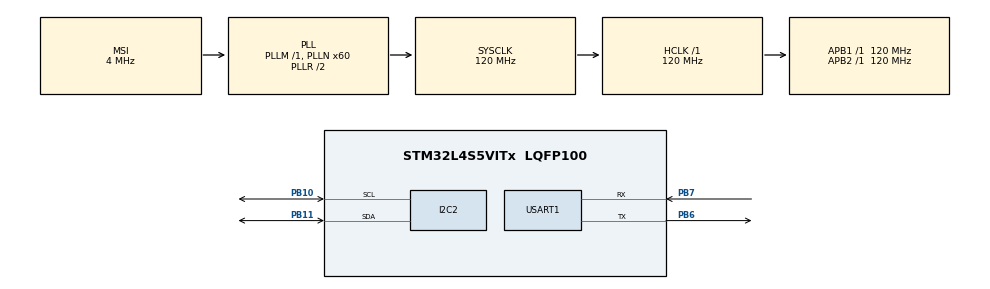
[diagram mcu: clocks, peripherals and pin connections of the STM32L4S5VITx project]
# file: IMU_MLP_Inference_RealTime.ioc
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I2C2.Timing=0x30A175AB
Mcu.Family=STM32L4
Mcu.Name=STM32L4S5VITx
Mcu.Package=LQFP100
NVIC.PriorityGroup=NVIC_PRIORITYGROUP_4
PB10.Mode=I2C
PB10.Signal=I2C2_SCL
PB11.Mode=I2C
PB11.Signal=I2C2_SDA
PB6.Mode=Asynchronous
PB6.Signal=USART1_TX
PB7.Mode=Asynchronous
PB7.Signal=USART1_RX
ProjectManager.HeapSize=0x200
ProjectManager.StackSize=0x400
ProjectManager.TargetToolchain=STM32CubeIDE
RCC.ADCFreq_Value=48000000
RCC.AHBFreq_Value=120000000
RCC.APB1Freq_Value=120000000
RCC.APB1TimFreq_Value=120000000
RCC.APB2Freq_Value=120000000
RCC.APB2TimFreq_Value=120000000
RCC.CortexFreq_Value=120000000
RCC.HCLKFreq_Value=120000000
RCC.HSE_VALUE=8000000
RCC.HSI48_VALUE=48000000
RCC.HSI_VALUE=16000000
RCC.MSI_VALUE=4000000
RCC.PLLN=60
RCC.PLLSAI1N=24
RCC.SYSCLKFreq_VALUE=120000000
RCC.SYSCLKSource=RCC_SYSCLKSOURCE_PLLCLK
RCC.USBFreq_Value=48000000
RCC.VCOOutputFreq_Value=240000000
STMicroelectronics.X-CUBE-AI.10.2.0.ActivationBufferSizeList=2196
STMicroelectronics.X-CUBE-AI.10.2.0.ActivationBuffers=pool0
STMicroelectronics.X-CUBE-AI.10.2.0.ActivationNames=pool0
STMicroelectronics.X-CUBE-AI.10.2.0.ActivationSizes=AI_NETWORK_DATA_ACTIVATION_1_SIZE
STMicroelectronics.X-CUBE-AI.10.2.0.HeapSize=0x800
STMicroelectronics.X-CUBE-AI.10.2.0.InternalRamActivationBufferMaxSize=AI_NETWORK_DATA_ACTIVATIONS_SIZE
STMicroelectronics.X-CUBE-AI.10.2.0.LatestDirectoryUsed-71befba472b4ac1e8df70e5b0937361406bf6e057392766b3646ccae2551211b=D\:\\FDP\\TinyML\\Working_Directory\\TinyML_Workshop\\ONNX
STMicroelectronics.X-CUBE-AI.10.2.0.MaximumNumberOfInputLayer=1
STMicroelectronics.X-CUBE-AI.10.2.0.MaximumNumberOfOutputLayer=1
STMicroelectronics.X-CUBE-AI.10.2.0.MaximumSizeOfInputLayer=1
STMicroelectronics.X-CUBE-AI.10.2.0.MaximumSizeOfOutputLayer=1
STMicroelectronics.X-CUBE-AI.10.2.0.ModelActualCompression-71befba472b4ac1e8df70e5b0937361406bf6e057392766b3646ccae2551211b=0.0
STMicroelectronics.X-CUBE-AI.10.2.0.ModelCompression-71befba472b4ac1e8df70e5b0937361406bf6e057392766b3646ccae2551211b=None
STMicroelectronics.X-CUBE-AI.10.2.0.ModelFlashOccupation-71befba472b4ac1e8df70e5b0937361406bf6e057392766b3646ccae2551211b=19528
STMicroelectronics.X-CUBE-AI.10.2.0.ModelHashList=71befba472b4ac1e8df70e5b0937361406bf6e057392766b3646ccae2551211b
STMicroelectronics.X-CUBE-AI.10.2.0.ModelKind-71befba472b4ac1e8df70e5b0937361406bf6e057392766b3646ccae2551211b=ONNX
STMicroelectronics.X-CUBE-AI.10.2.0.ModelMacc-71befba472b4ac1e8df70e5b0937361406bf6e057392766b3646ccae2551211b=2789
STMicroelectronics.X-CUBE-AI.10.2.0.ModelName-71befba472b4ac1e8df70e5b0937361406bf6e057392766b3646ccae2551211b=network
STMicroelectronics.X-CUBE-AI.10.2.0.ModelNameList=network
STMicroelectronics.X-CUBE-AI.10.2.0.ModelRamOccupation-71befba472b4ac1e8df70e5b0937361406bf6e057392766b3646ccae2551211b=2196
STMicroelectronics.X-CUBE-AI.10.2.0.ModelStructureFile-71befba472b4ac1e8df70e5b0937361406bf6e057392766b3646ccae2551211b=D\:\\FDP\\TinyML\\Working_Directory\\TinyML_Workshop\\ONNX\\mlp_model.onnx
STMicroelectronics.X-CUBE-AI.10.2.0.ModelType-71befba472b4ac1e8df70e5b0937361406bf6e057392766b3646ccae2551211b=STM32Cube.AI MCU runtime
STMicroelectronics.X-CUBE-AI.10.2.0.ReadyForCodeGeneration=true
STMicroelectronics.X-CUBE-AI.10.2.0.StackSize=0x800
STMicroelectronics.X-CUBE-AI.10.2.0.WorkingBufferStartAddrList=0xFFFFFFFF
STMicroelectronics.X-CUBE-AI.10.2.0.XAaCUBEAaAICcArtificialOoIntelligenceJjCore=true
STMicroelectronics.X-CUBE-AI.10.2.0.copyWeightToRam=false
STMicroelectronics.X-CUBE-AI.10.2.0.customLayerConfigEnabled=false
STMicroelectronics.X-CUBE-AI.10.2.0.noOnnxIoTranspose=false
STMicroelectronics.X-CUBE-AI.10.2.0.useInputAllocation=true
STMicroelectronics.X-CUBE-AI.10.2.0.useOutputAllocation=true
USART1.VirtualMode-Asynchronous=VM_ASYNC
VP_STMicroelectronics.X-CUBE-AI_VS_ArtificialOoIntelligenceJjXAaCUBEAaAI_10.2.0.Mode=ArtificialOoIntelligenceJjXAaCUBEAaAI
board=B-L4S5I-IOT01A

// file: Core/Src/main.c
/* USER CODE BEGIN Header */
/**
  ******************************************************************************
  * @file           : main.c
  * @brief          : Main program body
  ******************************************************************************
  * @attention
  *
  * Copyright (c) 2026 STMicroelectronics.
  * All rights reserved.
  *
  * This software is licensed under terms that can be found in the LICENSE file
  * in the root directory of this software component.
  * If no LICENSE file comes with this software, it is provided AS-IS.
  *
  ******************************************************************************
  */
/* USER CODE END Header */
#include "main.h"

/* USER CODE BEGIN Includes */
#include "stdio.h"
#include "string.h"
#include "network.h"
#include "network_data.h"
#include "network_data_params.h"
#include "imu.h"
/* USER CODE END Includes */

I2C_HandleTypeDef hi2c2;

UART_HandleTypeDef huart1;

/* USER CODE BEGIN PV */
ai_handle network = AI_HANDLE_NULL;

AI_ALIGNED(4)
static ai_u8 activations_buffer[AI_NETWORK_DATA_ACTIVATIONS_SIZE];

static ai_buffer *ai_input;
static ai_buffer *ai_output;

/* Input Features */
float input_data[6];

const float feature_min[6] =
{
    -1.999f,
    -1.999f,
    -1.997f,
    -286.685f,
    -286.685f,
    -286.685f
};

const float feature_max[6] =
{
     1.998f,
     1.997f,
     1.999f,
     286.685f,
     286.685f,
     286.685f
};

/* Predicted Label */
int32_t predicted_label;

/* Network Output Scores */
float output_scores[5];

/* USER CODE END PV */

void SystemClock_Config(void);
static void MX_GPIO_Init(void);
static void MX_I2C2_Init(void);
static void MX_USART1_UART_Init(void);
/* USER CODE BEGIN PFP */
void Normalize_Features(void);
void AI_Run(void);
/* USER CODE END PFP */

/* USER CODE BEGIN 0 */
void MX_X_CUBE_AI_Init(void)
{
    ai_error err;

    /* Activation memory */
    const ai_handle activations[] =
    {
    		activations_buffer
    };

    /* Use embedded weights generated by X-CUBE-AI */
    err = ai_network_create_and_init(
            &network,
            activations,
            NULL);

    if (err.type != AI_ERROR_NONE)
    {
        printf("AI Init Failed\r\n");
        printf("Type = %d\r\n", err.type);
        printf("Code = %d\r\n", err.code);
        Error_Handler();
    }

    ai_input  = ai_network_inputs_get(network, NULL);
    ai_output = ai_network_outputs_get(network, NULL);

    printf("AI Initialized Successfully\r\n");
}

/* USER CODE END 0 */

int main(void)
{

  /* MCU Configuration--------------------------------------------------------*/

  /* Reset of all peripherals, Initializes the Flash interface and the Systick. */
  HAL_Init();

  /* Configure the system clock */
  SystemClock_Config();

  /* Initialize all configured peripherals */
  MX_GPIO_Init();
  MX_I2C2_Init();
  MX_USART1_UART_Init();
  /* USER CODE BEGIN 2 */
  IMU_Init();
  float ax, ay, az;
  float gx, gy, gz;
  printf("\r\n");
  printf("Random Forest STM32 Demo\r\n");

  MX_X_CUBE_AI_Init();

  /* USER CODE END 2 */

  /* Infinite loop */
  while (1)
  {

    /* USER CODE BEGIN 3 */
	  IMU_Read_Accel(&ax, &ay, &az);
	  IMU_Read_Gyro(&gx, &gy, &gz);

	  /* Build feature vector */
	  input_data[0] = ax;
	  input_data[1] = ay;
	  input_data[2] = az;
	  input_data[3] = gx;
	  input_data[4] = gy;
	  input_data[5] = gz;

	  /* Display raw sensor values */
	  printf("\r\n-------------------------\r\n");
	  printf("Raw Sensor Values\r\n");

	  printf("Ax = %.3f  Ay = %.3f  Az = %.3f\r\n",
	         ax, ay, az);

	  printf("Gx = %.3f  Gy = %.3f  Gz = %.3f\r\n",
	         gx, gy, gz);

	  /* Normalize */
	  Normalize_Features();

	  /* Display normalized values */
	  printf("\r\nNormalized Features\r\n");

	  printf("Ax = %.3f  Ay = %.3f  Az = %.3f\r\n",
	         input_data[0],
	         input_data[1],
	         input_data[2]);

	  printf("Gx = %.3f  Gy = %.3f  Gz = %.3f\r\n",
	         input_data[3],
	         input_data[4],
	         input_data[5]);
	  	  	  /* Run inference */
	  	  	  AI_Run();

	  	  	  HAL_Delay(200);
  }
  /* USER CODE END 3 */
}

void SystemClock_Config(void)
{
  RCC_OscInitTypeDef RCC_OscInitStruct = {0};
  RCC_ClkInitTypeDef RCC_ClkInitStruct = {0};

  /** Configure the main internal regulator output voltage
  */
  if (HAL_PWREx_ControlVoltageScaling(PWR_REGULATOR_VOLTAGE_SCALE1_BOOST) != HAL_OK)
  {
    Error_Handler();
  }

  /** Initializes the RCC Oscillators according to the specified parameters
  * in the RCC_OscInitTypeDef structure.
  */
  RCC_OscInitStruct.OscillatorType = RCC_OSCILLATORTYPE_MSI;
  RCC_OscInitStruct.MSIState = RCC_MSI_ON;
  RCC_OscInitStruct.MSICalibrationValue = 0;
  RCC_OscInitStruct.MSIClockRange = RCC_MSIRANGE_6;
  RCC_OscInitStruct.PLL.PLLState = RCC_PLL_ON;
  RCC_OscInitStruct.PLL.PLLSource = RCC_PLLSOURCE_MSI;
  RCC_OscInitStruct.PLL.PLLM = 1;
  RCC_OscInitStruct.PLL.PLLN = 60;
  RCC_OscInitStruct.PLL.PLLP = RCC_PLLP_DIV2;
  RCC_OscInitStruct.PLL.PLLQ = RCC_PLLQ_DIV2;
  RCC_OscInitStruct.PLL.PLLR = RCC_PLLR_DIV2;
  if (HAL_RCC_OscConfig(&RCC_OscInitStruct) != HAL_OK)
  {
    Error_Handler();
  }

  /** Initializes the CPU, AHB and APB buses clocks
  */
  RCC_ClkInitStruct.ClockType = RCC_CLOCKTYPE_HCLK|RCC_CLOCKTYPE_SYSCLK
                              |RCC_CLOCKTYPE_PCLK1|RCC_CLOCKTYPE_PCLK2;
  RCC_ClkInitStruct.SYSCLKSource = RCC_SYSCLKSOURCE_PLLCLK;
  RCC_ClkInitStruct.AHBCLKDivider = RCC_SYSCLK_DIV1;
  RCC_ClkInitStruct.APB1CLKDivider = RCC_HCLK_DIV1;
  RCC_ClkInitStruct.APB2CLKDivider = RCC_HCLK_DIV1;

  if (HAL_RCC_ClockConfig(&RCC_ClkInitStruct, FLASH_LATENCY_5) != HAL_OK)
  {
    Error_Handler();
  }
}

static void MX_I2C2_Init(void)
{

  hi2c2.Instance = I2C2;
  hi2c2.Init.Timing = 0x30A175AB;
  hi2c2.Init.OwnAddress1 = 0;
  hi2c2.Init.AddressingMode = I2C_ADDRESSINGMODE_7BIT;
  hi2c2.Init.DualAddressMode = I2C_DUALADDRESS_DISABLE;
  hi2c2.Init.OwnAddress2 = 0;
  hi2c2.Init.OwnAddress2Masks = I2C_OA2_NOMASK;
  hi2c2.Init.GeneralCallMode = I2C_GENERALCALL_DISABLE;
  hi2c2.Init.NoStretchMode = I2C_NOSTRETCH_DISABLE;
  if (HAL_I2C_Init(&hi2c2) != HAL_OK)
  {
    Error_Handler();
  }

  /** Configure Analogue filter
  */
  if (HAL_I2CEx_ConfigAnalogFilter(&hi2c2, I2C_ANALOGFILTER_ENABLE) != HAL_OK)
  {
    Error_Handler();
  }

  /** Configure Digital filter
  */
  if (HAL_I2CEx_ConfigDigitalFilter(&hi2c2, 0) != HAL_OK)
  {
    Error_Handler();
  }

}

static void MX_USART1_UART_Init(void)
{

  huart1.Instance = USART1;
  huart1.Init.BaudRate = 115200;
  huart1.Init.WordLength = UART_WORDLENGTH_8B;
  huart1.Init.StopBits = UART_STOPBITS_1;
  huart1.Init.Parity = UART_PARITY_NONE;
  huart1.Init.Mode = UART_MODE_TX_RX;
  huart1.Init.HwFlowCtl = UART_HWCONTROL_NONE;
  huart1.Init.OverSampling = UART_OVERSAMPLING_16;
  huart1.Init.OneBitSampling = UART_ONE_BIT_SAMPLE_DISABLE;
  huart1.Init.ClockPrescaler = UART_PRESCALER_DIV1;
  huart1.AdvancedInit.AdvFeatureInit = UART_ADVFEATURE_NO_INIT;
  if (HAL_UART_Init(&huart1) != HAL_OK)
  {
    Error_Handler();
  }
  if (HAL_UARTEx_SetTxFifoThreshold(&huart1, UART_TXFIFO_THRESHOLD_1_8) != HAL_OK)
  {
    Error_Handler();
  }
  if (HAL_UARTEx_SetRxFifoThreshold(&huart1, UART_RXFIFO_THRESHOLD_1_8) != HAL_OK)
  {
    Error_Handler();
  }
  if (HAL_UARTEx_DisableFifoMode(&huart1) != HAL_OK)
  {
    Error_Handler();
  }

}

static void MX_GPIO_Init(void)
{

  /* GPIO Ports Clock Enable */
  __HAL_RCC_GPIOB_CLK_ENABLE();

}

/* USER CODE BEGIN 4 */
int _write(int file, char *ptr, int len)
{
    HAL_UART_Transmit(&huart1, (uint8_t*)ptr, len, HAL_MAX_DELAY);
    return len;
}

void Normalize_Features(void)
{
    for(int i = 0; i < 6; i++)
    {
        input_data[i] =
            (input_data[i] - feature_min[i]) /
            (feature_max[i] - feature_min[i]);

        /* Optional safety clipping */
        if(input_data[i] < 0.0f)
            input_data[i] = 0.0f;

        if(input_data[i] > 1.0f)
            input_data[i] = 1.0f;
    }
}

void AI_Run(void)
{
    ai_i32 batch;

    ai_input[0].data = AI_HANDLE_PTR(input_data);

    ai_output[0].data = AI_HANDLE_PTR(output_scores);

    batch = ai_network_run(
        network,
        ai_input,
        ai_output
    );

    if(batch != 1)
    {
        ai_error err = ai_network_get_error(network);

        printf("Inference Error\r\n");
        printf("Error Type = %d\r\n", err.type);
        printf("Error Code = %d\r\n", err.code);

        return;
    }

    predicted_label = 0;

    for(int i = 1; i < 5; i++)
    {
        if(output_scores[i] > output_scores[predicted_label])
        {
            predicted_label = i;
        }
    }

    printf("\r\n-------------------------\r\n");

    printf("Output Scores:\r\n");

    for(int i = 0; i < 5; i++)
    {
        printf("Class %d : %.6f\r\n",
               i,
               output_scores[i]);
    }

    printf("Predicted Class : %ld\r\n",
           (long)predicted_label);

    printf("-------------------------\r\n");
}

/* USER CODE END 4 */

void Error_Handler(void)
{
  __disable_irq();
  while (1)
  {
  }
}
